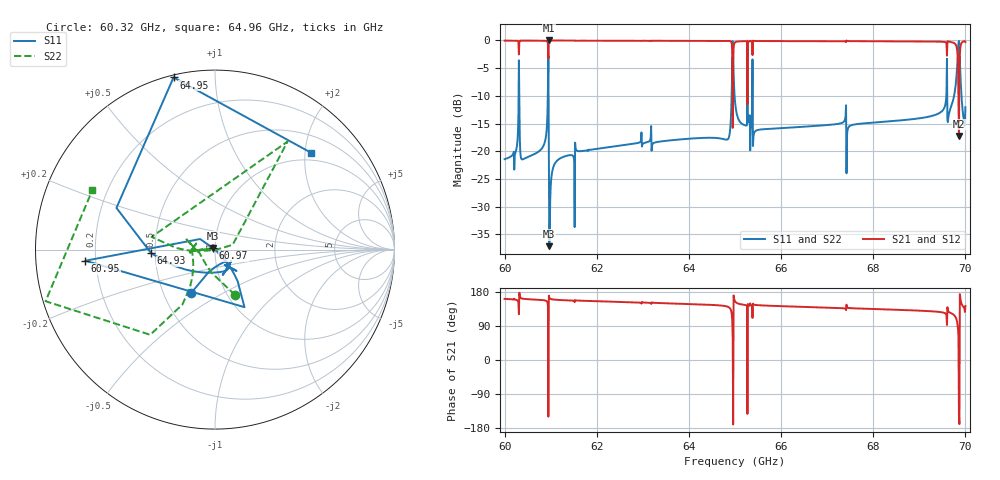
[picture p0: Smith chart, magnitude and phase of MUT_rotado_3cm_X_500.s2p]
! TOUCHSTONE file generated by CST MICROWAVE STUDIO
! Date and time: Fri Feb 23 17:16:09 2024
! Project name: material_angular.cst
! Parameters = {Y=2}
! Header version: 2018
! Port assignment regex: !\s*Touchstone port\s*([0-9]+)\s*=\s*(CST MWS port|CST DS port)\s*([0-9]+|Zmin|Zmax)\s*\(\"(.*)\"\)(\s*mode\s*([0-9]+))?.*
! Touchstone port assignment:
! Touchstone port 1 = CST MWS port 1 ("")
! Touchstone port 2 = CST MWS port 2 ("")
# GHz S MA R 376.7
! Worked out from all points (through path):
!   1001 points, 60 GHz to 70 GHz, reference 376.7 ohm
!   highest |S21| = 0.00 dB at 60.97 GHz (marker M1); lowest = -17.2 dB at 69.86 GHz (marker M2)
!   lowest |S11| = -37.1 dB at 60.97 GHz (marker M3), VSWR 1.03, Z = 368 + j6.27 ohm
!   |S11| at or under -10 dB: 60.32 GHz to 60.94 GHz (618.9 MHz wide, 1.02 % of centre); 60.95 GHz to 64.93 GHz (3.972 GHz wide, 6.31 % of centre); 65.38 GHz to 69.59 GHz (4.201 GHz wide, 6.23 % of centre)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
!   |S22| runs from -37.1 to -0.1 dB; largest |S21 - S12| = 0
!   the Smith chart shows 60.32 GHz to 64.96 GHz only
!   S11 on the Smith chart (normalised r, x): 60.32 GHz: 0.69, -0.36; 60.95 GHz: 0.16, -0.04; 60.97 GHz: 0.98, +0.02; 64.93 GHz: 0.48, -0.02; 64.95 GHz: 0.01, +0.79; 64.96 GHz: 0.83, +2.12
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60  0.08486 -39.4  0.9964 161.3  0.9964 161.3  0.08486 -178.0
60.32  0.2772 -118.8  0.9608 177.5  0.9608 177.5  0.2772 -66.1
60.42  0.08546 -56.7  0.9963 161.3  0.9963 161.3  0.08546 -160.6
60.9  0.1388 -50.0  0.9903 156.2  0.9903 156.2  0.1388 -177.6
60.95  0.7252 -175.1  0.6885 -149.5  0.6885 -149.5  0.7252 56.1
60.97  0.01392 142.3  0.9999 164.7  0.9999 164.7  0.01392 7.2
61.02  0.06048 -45.7  0.9982 160.3  0.9982 160.3  0.06048 -173.6
61.67  0.1004 -48.0  0.9949 156.4  0.9949 156.4  0.1004 -179.2
63.34  0.1218 -52.7  0.9926 150.4  0.9926 150.4  0.1218 173.4
64.82  0.1274 -86.2  0.9919 141.4  0.9919 141.4  0.1274 -171.0
64.93  0.3557 -176.6  0.9346 121.4  0.9346 121.4  0.3557 -120.7
64.95  0.9867 103.5  0.1626 60.2  0.1626 60.2  0.9867 -163.1
64.96  0.7594 45.4  0.6506 -170.2  0.6506 -170.2  0.7594 154.1
65  0.2819 -9.2  0.9594 155.2  0.9594 155.2  0.2819 139.6
65.44  0.1517 -47.7  0.9884 145.3  0.9884 145.3  0.1517 158.4
66.67  0.1685 -55.3  0.9857 139.5  0.9857 139.5  0.1685 154.3
68.34  0.1861 -58.6  0.9825 133.2  0.9825 133.2  0.1861 145.1
69.55  0.2506 -59.7  0.9681 124.0  0.9681 124.0  0.2506 127.7
69.79  0.3996 -38.3  0.9167 112.5  0.9167 112.5  0.3996 83.2
69.86  0.9905 -91.0  0.1377 -144.3  0.1377 -144.3  0.9905 -17.6
69.91  0.3414 -128.8  0.9399 151.0  0.9399 151.0  0.3414 -109.2
70  0.2495 -116.2  0.9684 142.6  0.9684 142.6  0.2495 -138.5
